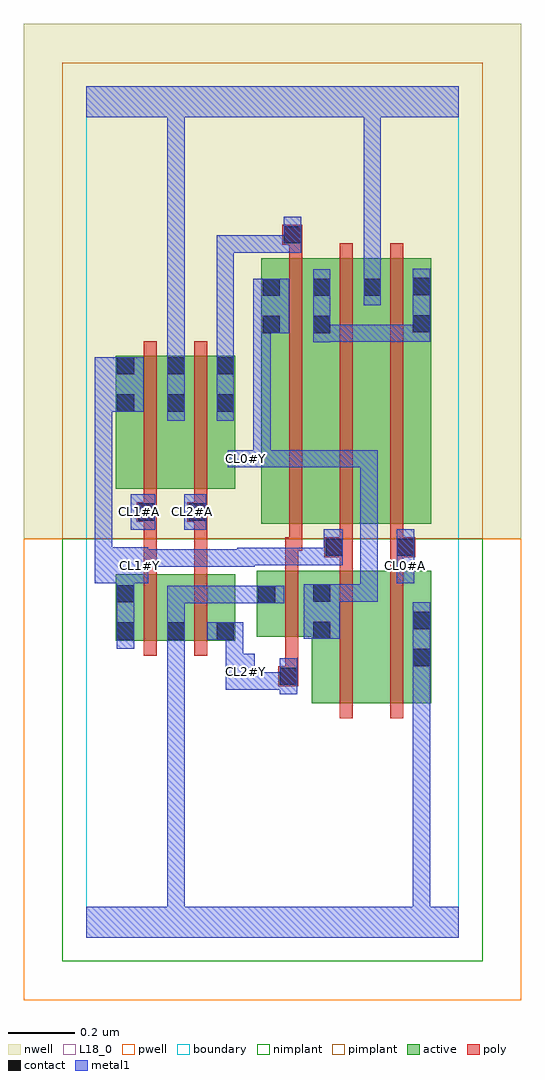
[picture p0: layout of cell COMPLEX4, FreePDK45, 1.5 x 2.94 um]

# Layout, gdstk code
import gdstk
lib = gdstk.Library(unit=1e-6, precision=1e-09)
def R(c, l, rs):  # rectangles x0, y0, x1, y1
    for r in rs: c.add(gdstk.rectangle(r[:2], r[2:], *l))
def A(c, l, x, y, w, h, nx, ny, dx, dy):  # array of equal rectangles
    R(c, l, [(x+i*dx, y+j*dy, x+i*dx+w, y+j*dy+h) for i in range(nx) for j in range(ny)])
active = (1, 0)
pwell = (2, 0)
nwell = (3, 0)
nimplant = (4, 0)
pimplant = (5, 0)
poly = (9, 0)
contact = (10, 0)
metal1 = (11, 0)
L18_0 = (18, 0)
boundary = (235, 0)

complex4 = lib.new_cell('COMPLEX4')
R(complex4, active, [(0.678,0.704,0.858,1.104), (0.678,0.704,0.738,1.104), (0.858,0.704,1.038,1.104), (0.978,0.756,1.038,1.104), (0.088,0.892,0.148,1.092), (0.088,0.892,0.3,1.092), (0.24,0.892,0.448,1.092), (0.24,0.892,0.3,1.028), (0.388,0.892,0.448,1.092), (0.512,0.904,0.738,1.104), (0.512,0.904,0.572,1.104), (0.526,1.244,0.586,2.044), (0.526,1.244,0.738,2.044), (0.678,1.244,0.738,2.044), (0.678,1.244,0.89,2.044), (0.83,1.244,1.038,2.044), (0.978,1.244,1.038,2.044), (0.088,1.35,0.148,1.75), (0.088,1.35,0.3,1.75), (0.24,1.35,0.448,1.75), (0.388,1.35,0.448,1.75), (0.24,1.408,0.3,1.75), (0.83,1.686,0.89,2.044)])
R(complex4, pwell, [(-0.188,-0.188,1.308,1.2)])
R(complex4, nwell, [(-0.188,1.2,1.308,2.748)])
R(complex4, nimplant, [(-0.072,-0.072,1.192,1.2)])
R(complex4, pimplant, [(-0.072,1.2,1.192,2.632)])
A(complex4, poly, 0.61, 1.164, 0.04, 0.076, 3, 1, 0.152, 0)
A(complex4, poly, 0.61, 1.2, 0.04, 0.888, 3, 1, 0.152, 0)
R(complex4, poly, [(0.762,0.66,0.802,1.148), (0.914,0.66,0.954,1.148), (0.578,0.756,0.638,0.816), (0.598,0.776,0.638,0.9), (0.172,0.848,0.212,1.136), (0.324,0.848,0.364,1.136), (0.598,0.86,0.638,1.148), (0.172,1.096,0.212,1.29), (0.324,1.096,0.364,1.29), (0.598,1.108,0.638,1.204), (0.762,1.108,0.802,1.184), (0.914,1.108,0.954,1.184), (0.716,1.144,0.802,1.204), (0.914,1.144,0.954,1.184), (0.914,1.144,0.954,1.184), (0.914,1.144,0.99,1.204), (0.598,1.164,0.638,1.204), (0.598,1.164,0.638,1.204), (0.598,1.164,0.65,1.204), (0.762,1.164,0.802,1.204), (0.762,1.164,0.802,1.204), (0.152,1.25,0.212,1.31), (0.172,1.25,0.212,1.29), (0.172,1.25,0.212,1.29), (0.304,1.25,0.364,1.31), (0.324,1.25,0.364,1.29), (0.324,1.25,0.364,1.29), (0.172,1.27,0.212,1.346), (0.324,1.27,0.364,1.346), (0.172,1.306,0.212,1.794), (0.324,1.306,0.364,1.794), (0.61,2.048,0.65,2.124), (0.59,2.084,0.65,2.144)])
A(complex4, contact, 0.53, 1.93, 0.052, 0.052, 3, 1, 0.152, 0)
R(complex4, contact, [(0.582,0.76,0.634,0.812), (0.982,0.816,1.034,0.868), (0.092,0.896,0.144,0.948), (0.244,0.896,0.296,0.948), (0.392,0.896,0.444,0.948), (0.682,0.898,0.734,0.95), (0.982,0.928,1.034,0.98), (0.516,1.006,0.568,1.058), (0.092,1.008,0.144,1.06), (0.682,1.01,0.734,1.062), (0.72,1.148,0.772,1.2), (0.934,1.148,0.986,1.2), (0.156,1.254,0.208,1.306), (0.308,1.254,0.36,1.306), (0.092,1.582,0.144,1.634), (0.244,1.582,0.296,1.634), (0.392,1.582,0.444,1.634), (0.092,1.694,0.144,1.746), (0.244,1.694,0.296,1.746), (0.392,1.694,0.444,1.746), (0.53,1.818,0.582,1.87), (0.682,1.818,0.734,1.87), (0.982,1.82,1.034,1.872), (0.982,1.932,1.034,1.984), (0.594,2.088,0.646,2.14)])
A(complex4, metal1, 0.604, 1.414, 0.052, 0.052, 3, 1, 0.11, 0)
R(complex4, metal1, [(0,0,1.12,0.092), (0.244,0.04,0.296,0.092), (0.244,0.04,0.296,0.092), (0.244,0.04,0.296,0.92), (0.982,0.04,1.034,0.092), (0.982,0.04,1.034,0.092), (0.982,0.04,1.034,0.092), (0.982,0.04,1.034,0.092), (0.982,0.04,1.034,0.84), (0.582,0.732,0.634,0.84), (0.42,0.746,0.506,0.854), (0.454,0.746,0.506,0.798), (0.454,0.746,0.506,0.798), (0.454,0.746,0.634,0.798), (0.982,0.788,1.034,0.84), (0.982,0.788,1.034,0.84), (0.982,0.788,1.034,0.84), (0.982,0.788,1.034,0.84), (0.982,0.788,1.034,0.84), (0.982,0.788,1.034,0.84), (0.982,0.788,1.034,0.84), (0.982,0.788,1.034,0.84), (0.982,0.788,1.034,1.008), (0.42,0.802,0.472,0.948), (0.092,0.868,0.144,1.088), (0.244,0.868,0.296,0.92), (0.244,0.868,0.296,0.92), (0.244,0.868,0.296,0.92), (0.244,0.868,0.296,0.92), (0.244,0.868,0.296,0.92), (0.244,0.868,0.296,0.92), (0.244,0.868,0.296,0.92), (0.244,0.868,0.296,0.92), (0.244,0.868,0.296,0.92), (0.244,0.868,0.296,0.92), (0.244,0.868,0.296,0.92), (0.244,0.868,0.296,0.92), (0.244,0.868,0.296,0.92), (0.244,0.868,0.296,0.92), (0.244,0.868,0.296,0.976), (0.364,0.896,0.472,0.948), (0.654,0.898,0.762,1.062), (0.244,0.924,0.296,1.058), (0.244,1.006,0.296,1.058), (0.244,1.006,0.296,1.058), (0.244,1.006,0.296,1.058), (0.244,1.006,0.406,1.058), (0.354,1.006,0.406,1.058), (0.354,1.006,0.54,1.058), (0.488,1.006,0.596,1.058), (0.71,1.01,0.876,1.062), (0.824,1.01,0.876,1.062), (0.824,1.01,0.876,1.062), (0.824,1.01,0.876,1.062), (0.824,1.01,0.876,1.062), (0.824,1.01,0.876,1.062), (0.824,1.01,0.876,1.466), (0.092,1.036,0.144,1.118), (0.026,1.066,0.186,1.174), (0.934,1.066,0.986,1.228), (0.134,1.116,0.186,1.168), (0.134,1.116,0.186,1.168), (0.134,1.116,0.296,1.168), (0.244,1.116,0.296,1.168), (0.244,1.116,0.296,1.168), (0.244,1.116,0.296,1.168), (0.244,1.116,0.506,1.168), (0.454,1.116,0.506,1.168), (0.454,1.116,0.506,1.168), (0.454,1.116,0.506,1.172), (0.454,1.12,0.616,1.172), (0.564,1.12,0.616,1.172), (0.564,1.12,0.766,1.172), (0.714,1.12,0.766,1.172), (0.714,1.12,0.766,1.172), (0.714,1.12,0.772,1.228), (0.026,1.122,0.078,1.634), (0.134,1.226,0.208,1.334), (0.294,1.226,0.36,1.334), (0.426,1.414,0.554,1.466), (0.502,1.414,0.554,1.87), (0.502,1.414,0.656,1.466), (0.604,1.414,0.766,1.466), (0.714,1.414,0.876,1.466), (0.824,1.414,0.876,1.466), (0.824,1.414,0.876,1.466), (0.244,1.554,0.296,1.774), (0.392,1.554,0.444,1.774), (0.026,1.582,0.078,1.634), (0.026,1.582,0.078,1.634), (0.026,1.582,0.172,1.746), (0.244,1.722,0.296,2.52), (0.392,1.722,0.444,2.112), (0.682,1.79,0.734,2.01), (0.682,1.792,0.876,1.844), (0.824,1.792,0.876,1.844), (0.824,1.792,0.876,1.844), (0.824,1.792,0.876,1.844), (0.824,1.792,1.034,1.844), (0.982,1.792,1.034,1.844), (0.982,1.792,1.034,1.844), (0.982,1.792,1.034,2.012), (0.502,1.818,0.61,1.982), (0.834,1.902,0.886,2.01), (0.834,1.958,0.886,2.52), (0.392,2.06,0.444,2.112), (0.392,2.06,0.444,2.112), (0.392,2.06,0.444,2.112), (0.392,2.06,0.444,2.112), (0.392,2.06,0.444,2.112), (0.392,2.06,0.444,2.112), (0.392,2.06,0.444,2.112), (0.392,2.06,0.444,2.112), (0.392,2.06,0.444,2.112), (0.392,2.06,0.444,2.112), (0.392,2.06,0.444,2.112), (0.392,2.06,0.646,2.112), (0.594,2.06,0.646,2.168), (0,2.468,1.12,2.56), (0.244,2.468,0.296,2.52), (0.244,2.468,0.296,2.52), (0.244,2.468,0.296,2.52), (0.244,2.468,0.296,2.52), (0.244,2.468,0.296,2.52), (0.244,2.468,0.296,2.52), (0.244,2.468,0.296,2.52), (0.244,2.468,0.296,2.52), (0.244,2.468,0.296,2.52), (0.244,2.468,0.296,2.52), (0.244,2.468,0.296,2.52), (0.244,2.468,0.296,2.52), (0.244,2.468,0.296,2.52), (0.244,2.468,0.296,2.52), (0.244,2.468,0.296,2.52), (0.244,2.468,0.296,2.52), (0.834,2.468,0.886,2.52), (0.834,2.468,0.886,2.52), (0.834,2.468,0.886,2.52), (0.834,2.468,0.886,2.52), (0.834,2.468,0.886,2.52), (0.834,2.468,0.886,2.52), (0.834,2.468,0.886,2.52), (0.834,2.468,0.886,2.52)])
A(complex4, L18_0, 0.604, 1.414, 0.052, 0.052, 3, 1, 0.11, 0)
R(complex4, L18_0, [(0,0,1.12,0.092), (0.244,0.04,0.296,0.092), (0.244,0.04,0.296,0.092), (0.244,0.04,0.296,0.92), (0.982,0.04,1.034,0.092), (0.982,0.04,1.034,0.092), (0.982,0.04,1.034,0.092), (0.982,0.04,1.034,0.092), (0.982,0.04,1.034,0.84), (0.582,0.732,0.634,0.84), (0.42,0.746,0.506,0.854), (0.454,0.746,0.506,0.798), (0.454,0.746,0.506,0.798), (0.454,0.746,0.634,0.798), (0.454,0.774,0.506,0.826), (0.982,0.788,1.034,1.008), (0.982,0.788,1.034,0.84), (0.982,0.788,1.034,0.84), (0.982,0.788,1.034,0.84), (0.982,0.788,1.034,0.84), (0.982,0.788,1.034,0.84), (0.982,0.788,1.034,0.84), (0.982,0.788,1.034,0.84), (0.982,0.788,1.034,0.84), (0.42,0.802,0.472,0.948), (0.092,0.868,0.144,1.088), (0.244,0.868,0.296,0.92), (0.244,0.868,0.296,0.92), (0.244,0.868,0.296,0.92), (0.244,0.868,0.296,0.92), (0.244,0.868,0.296,0.92), (0.244,0.868,0.296,0.92), (0.244,0.868,0.296,0.92), (0.244,0.868,0.296,0.92), (0.244,0.868,0.296,0.92), (0.244,0.868,0.296,0.92), (0.244,0.868,0.296,0.92), (0.244,0.868,0.296,0.92), (0.244,0.868,0.296,0.92), (0.244,0.868,0.296,0.92), (0.244,0.868,0.296,0.976), (0.364,0.896,0.472,0.948), (0.654,0.898,0.762,1.062), (0.244,0.924,0.296,1.058), (0.244,1.006,0.296,1.058), (0.244,1.006,0.296,1.058), (0.244,1.006,0.296,1.058), (0.244,1.006,0.406,1.058), (0.354,1.006,0.406,1.058), (0.354,1.006,0.54,1.058), (0.488,1.006,0.596,1.058), (0.71,1.01,0.876,1.062), (0.824,1.01,0.876,1.062), (0.824,1.01,0.876,1.062), (0.824,1.01,0.876,1.062), (0.824,1.01,0.876,1.062), (0.824,1.01,0.876,1.062), (0.824,1.01,0.876,1.466), (0.092,1.036,0.144,1.118), (0.026,1.066,0.186,1.174), (0.934,1.066,0.986,1.228), (0.134,1.094,0.186,1.146), (0.934,1.094,0.986,1.146), (0.134,1.116,0.186,1.168), (0.134,1.116,0.186,1.168), (0.134,1.116,0.296,1.168), (0.244,1.116,0.296,1.168), (0.244,1.116,0.296,1.168), (0.244,1.116,0.296,1.168), (0.244,1.116,0.506,1.168), (0.454,1.116,0.506,1.168), (0.454,1.116,0.506,1.168), (0.454,1.116,0.506,1.172), (0.454,1.12,0.616,1.172), (0.564,1.12,0.616,1.172), (0.564,1.12,0.766,1.172), (0.714,1.12,0.766,1.172), (0.714,1.12,0.766,1.172), (0.714,1.12,0.772,1.228), (0.026,1.122,0.078,1.634), (0.134,1.226,0.208,1.334), (0.294,1.226,0.36,1.334), (0.134,1.254,0.186,1.306), (0.294,1.254,0.346,1.306), (0.426,1.414,0.554,1.466), (0.454,1.414,0.506,1.466), (0.502,1.414,0.554,1.87), (0.502,1.414,0.656,1.466), (0.604,1.414,0.766,1.466), (0.714,1.414,0.876,1.466), (0.824,1.414,0.876,1.466), (0.824,1.414,0.876,1.466), (0.244,1.554,0.296,1.774), (0.392,1.554,0.444,1.774), (0.026,1.582,0.078,1.634), (0.026,1.582,0.078,1.634), (0.026,1.582,0.172,1.746), (0.244,1.722,0.296,2.52), (0.392,1.722,0.444,2.112), (0.502,1.818,0.61,1.982), (0.834,1.902,0.886,2.01), (0.834,1.958,0.886,2.52), (0.392,2.06,0.444,2.112), (0.392,2.06,0.444,2.112), (0.392,2.06,0.444,2.112), (0.392,2.06,0.444,2.112), (0.392,2.06,0.444,2.112), (0.392,2.06,0.444,2.112), (0.392,2.06,0.444,2.112), (0.392,2.06,0.444,2.112), (0.392,2.06,0.444,2.112), (0.392,2.06,0.444,2.112), (0.392,2.06,0.444,2.112), (0.392,2.06,0.646,2.112), (0.594,2.06,0.646,2.168), (0,2.468,1.12,2.56), (0.244,2.468,0.296,2.52), (0.244,2.468,0.296,2.52), (0.244,2.468,0.296,2.52), (0.244,2.468,0.296,2.52), (0.244,2.468,0.296,2.52), (0.244,2.468,0.296,2.52), (0.244,2.468,0.296,2.52), (0.244,2.468,0.296,2.52), (0.244,2.468,0.296,2.52), (0.244,2.468,0.296,2.52), (0.244,2.468,0.296,2.52), (0.244,2.468,0.296,2.52), (0.244,2.468,0.296,2.52), (0.244,2.468,0.296,2.52), (0.244,2.468,0.296,2.52), (0.244,2.468,0.296,2.52), (0.834,2.468,0.886,2.52), (0.834,2.468,0.886,2.52), (0.834,2.468,0.886,2.52), (0.834,2.468,0.886,2.52), (0.834,2.468,0.886,2.52), (0.834,2.468,0.886,2.52), (0.834,2.468,0.886,2.52), (0.834,2.468,0.886,2.52)])
R(complex4, boundary, [(0,0,1.12,2.56)])
complex4.add(gdstk.Label('CL0#A', (0.96,1.12), layer=11, texttype=0))
complex4.add(gdstk.Label('CL0#Y', (0.48,1.44), layer=11, texttype=0))
complex4.add(gdstk.Label('CL1#A', (0.16,1.28), layer=11, texttype=0))
complex4.add(gdstk.Label('CL1#Y', (0.16,1.12), layer=11, texttype=0))
complex4.add(gdstk.Label('CL2#A', (0.32,1.28), layer=11, texttype=0))
complex4.add(gdstk.Label('CL2#Y', (0.48,0.8), layer=11, texttype=0))

lib.write_gds('COMPLEX4.gds')
